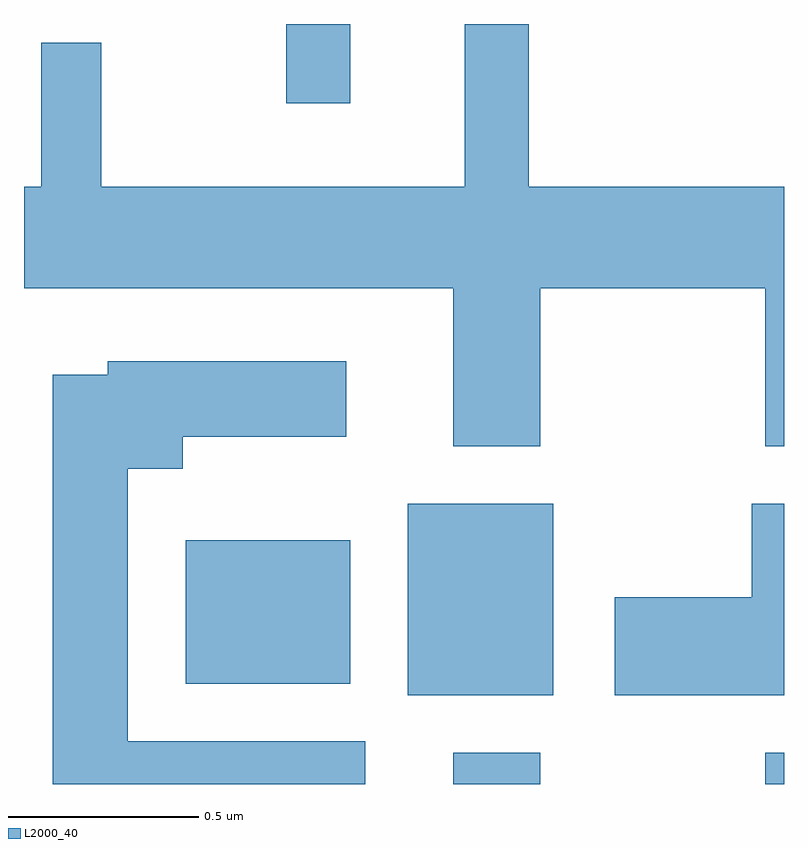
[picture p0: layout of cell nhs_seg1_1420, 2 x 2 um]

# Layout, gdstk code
import gdstk
lib = gdstk.Library(unit=1e-6, precision=1e-09)
def R(c, l, rs):  # rectangles x0, y0, x1, y1
    for r in rs: c.add(gdstk.rectangle(r[:2], r[2:], *l))
def P(c, l, *ps):  # polygons
    for p in ps: c.add(gdstk.Polygon(p, *l))
L2000_40 = (2000, 40)

nhs_seg1_1420 = lib.new_cell('nhs_seg1_1420')
R(nhs_seg1_1420, L2000_40, [(196.741,902.712,196.969,902.794), (197.561,902.712,197.611,902.794), (196.621,902.946,197.004,903.449), (196.036,902.976,196.469,903.354), (196.301,904.503,196.469,904.712)])
P(nhs_seg1_1420, L2000_40, [(196.969,904.016),(197.561,904.016),(197.561,903.601),(197.611,903.601),(197.611,904.284),(196.939,904.284),(196.939,904.712),(196.771,904.712),(196.771,904.284),(195.814,904.284),(195.814,904.663),(195.656,904.663),(195.656,904.284),(195.611,904.284),(195.611,904.016),(196.741,904.016),(196.741,903.601),(196.969,903.601)],
  [(196.509,902.824),(195.884,902.824),(195.884,903.541),(196.029,903.541),(196.029,903.626),(196.459,903.626),(196.459,903.824),(195.831,903.824),(195.831,903.789),(195.686,903.789),(195.686,902.712),(196.509,902.712)],
  [(197.611,903.449),(197.526,903.449),(197.526,903.204),(197.166,903.204),(197.166,902.946),(197.611,902.946)])

lib.write_gds('nhs_seg1_1420.gds')
